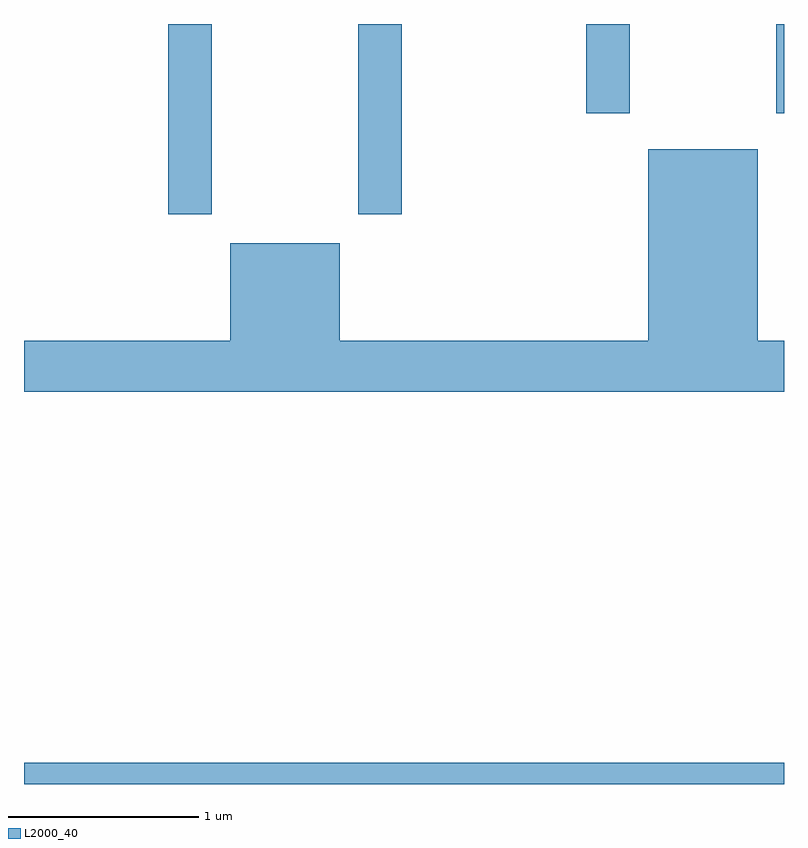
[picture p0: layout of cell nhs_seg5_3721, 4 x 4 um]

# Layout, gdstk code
import gdstk
lib = gdstk.Library(unit=1e-6, precision=1e-09)
def R(c, l, rs):  # rectangles x0, y0, x1, y1
    for r in rs: c.add(gdstk.rectangle(r[:2], r[2:], *l))
def P(c, l, *ps):  # polygons
    for p in ps: c.add(gdstk.Polygon(p, *l))
L2000_40 = (2000, 40)

nhs_seg5_3721 = lib.new_cell('nhs_seg5_3721')
R(nhs_seg5_3721, L2000_40, [(295.611,1448.072,299.611,1448.184), (296.371,1451.071,296.599,1452.072), (297.371,1451.071,297.599,1452.072), (298.571,1451.601,298.799,1452.072), (299.571,1451.601,299.611,1452.072)])
P(nhs_seg5_3721, L2000_40, [(299.611,1450.404),(299.474,1450.404),(299.474,1451.414),(298.896,1451.414),(298.896,1450.404),(297.274,1450.404),(297.274,1450.919),(296.696,1450.919),(296.696,1450.404),(295.611,1450.404),(295.611,1450.136),(299.611,1450.136)])

lib.write_gds('nhs_seg5_3721.gds')
